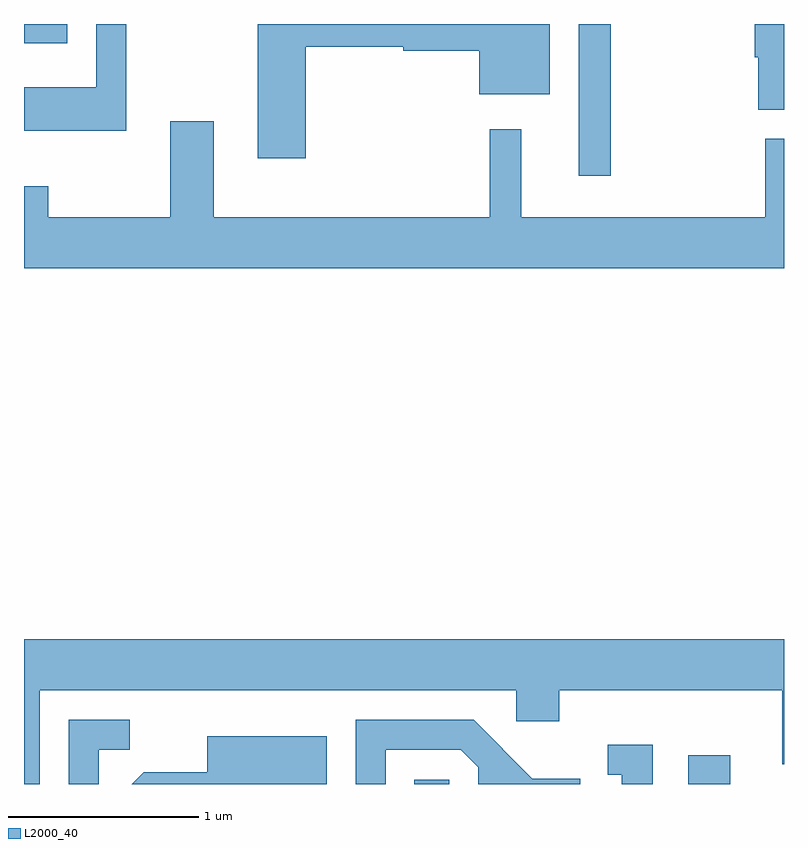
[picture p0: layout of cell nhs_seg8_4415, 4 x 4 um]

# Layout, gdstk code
import gdstk
lib = gdstk.Library(unit=1e-6, precision=1e-09)
def R(c, l, rs):  # rectangles x0, y0, x1, y1
    for r in rs: c.add(gdstk.rectangle(r[:2], r[2:], *l))
def P(c, l, *ps):  # polygons
    for p in ps: c.add(gdstk.Polygon(p, *l))
L2000_40 = (2000, 40)

nhs_seg8_4415 = lib.new_cell('nhs_seg8_4415')
R(nhs_seg8_4415, L2000_40, [(319.666,1860.342,319.849,1860.364), (321.106,1860.342,321.329,1860.494), (320.531,1863.543,320.699,1864.342), (317.611,1864.241,317.839,1864.342)])
P(nhs_seg8_4415, L2000_40, [(321.611,1864.342),(321.456,1864.342),(321.456,1864.166),(321.476,1864.166),(321.476,1863.891),(321.611,1863.891)],
  [(319.094,1864.221),(319.606,1864.221),(319.606,1864.201),(320.006,1864.201),(320.006,1863.971),(320.379,1863.971),(320.379,1864.342),(318.841,1864.342),(318.841,1863.636),(319.094,1863.636)],
  [(318.149,1864.342),(317.991,1864.342),(317.991,1864.009),(317.611,1864.009),(317.611,1863.781),(318.149,1863.781)],
  [(321.611,1863.739),(321.511,1863.739),(321.511,1863.324),(320.229,1863.324),(320.229,1863.788),(320.061,1863.788),(320.061,1863.324),(318.609,1863.324),(318.609,1863.829),(318.381,1863.829),(318.381,1863.324),(317.739,1863.324),(317.739,1863.489),(317.611,1863.489),(317.611,1863.056),(321.611,1863.056)],
  [(317.694,1860.836),(320.201,1860.836),(320.201,1860.671),(320.429,1860.671),(320.429,1860.836),(321.601,1860.836),(321.601,1860.446),(321.611,1860.446),(321.611,1861.104),(317.611,1861.104),(317.611,1860.342),(317.694,1860.342)],
  [(319.514,1860.521),(319.909,1860.521),(320.001,1860.429),(320.001,1860.342),(320.539,1860.342),(320.539,1860.369),(320.287,1860.369),(319.977,1860.679),(319.356,1860.679),(319.356,1860.342),(319.514,1860.342)],
  [(318.004,1860.521),(318.168,1860.521),(318.168,1860.679),(317.846,1860.679),(317.846,1860.342),(318.004,1860.342)],
  [(319.204,1860.594),(318.576,1860.594),(318.576,1860.404),(318.242,1860.404),(318.179,1860.342),(319.204,1860.342)],
  [(320.919,1860.549),(320.683,1860.549),(320.683,1860.391),(320.756,1860.391),(320.756,1860.342),(320.919,1860.342)])

lib.write_gds('nhs_seg8_4415.gds')
